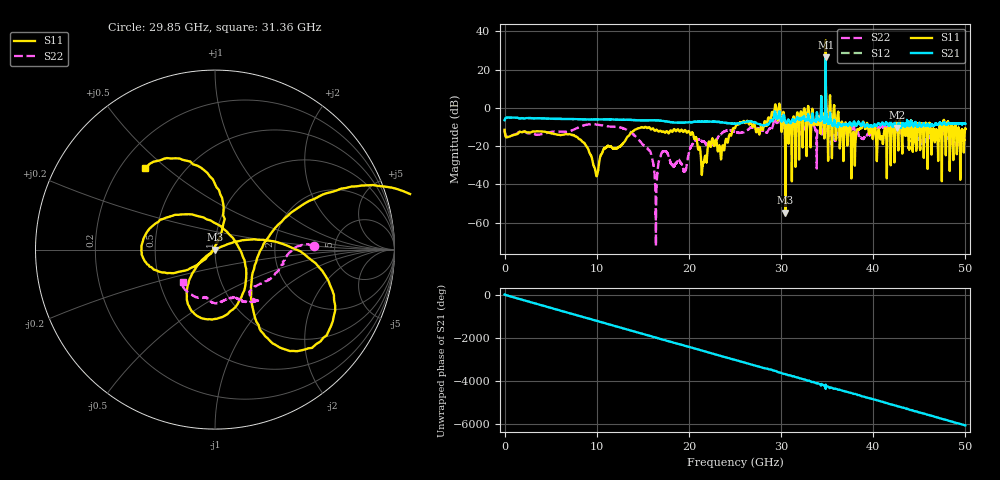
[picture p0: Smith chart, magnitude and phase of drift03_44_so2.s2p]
!Created with skrf (http://scikit-rf.org).
# Hz S RI R 50.0
!freq ReS11 ImS11 ReS21 ImS21 ReS12 ImS12 ReS22 ImS22
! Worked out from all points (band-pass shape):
!   10001 points, 300 kHz to 50 GHz, reference 50 ohm
!   highest |S21| = 26.46 dB at 34.85 GHz (marker M1); lowest = -10.4 dB at 42.56 GHz (marker M2)
!   |S21| within 3 dB of the highest: 34.84356 GHz to 34.84606 GHz (2.5 MHz wide, 0.00717 % of centre)
!   lowest |S11| = -54.9 dB at 30.47 GHz (marker M3), VSWR 1.00, Z = 49.8 - j0.0645 ohm
!   |S11| at or under -10 dB: start of sweep to 15.23 GHz; 15.31 GHz to 25.05 GHz (9.737 GHz wide, 48.2 % of centre); 40.22 GHz to 41.62 GHz (1.402 GHz wide, 3.42 % of centre) (the widest 3 of 54)
!   |S22| runs from -72.4 to 17.6 dB; largest |S21 - S12| = 3.1
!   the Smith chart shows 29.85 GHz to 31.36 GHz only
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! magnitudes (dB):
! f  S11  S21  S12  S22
! 300 kHz  -11.5  -6.5  -6.5  -11.4
! 8.335 GHz  -17.1  -6.0  -6.0  -9.6
! 9.955 GHz  -35.5  -6.1  -6.1  -8.7
! 11 GHz  -20.9  -6.1  -6.1  -9.5
! 13.97 GHz  -12.2  -6.3  -6.3  -13.9
! 15.75 GHz  -10.4  -6.5  -6.5  -22.4
! 16.36 GHz  -11.9  -6.5  -6.5  -42.2
! 16.67 GHz  -12.4  -6.6  -6.5  -29.7
! 17.33 GHz  -12.7  -6.9  -6.9  -22.9
! 19.55 GHz  -11.7  -7.6  -7.7  -33.1
! 20.22 GHz  -13.9  -7.5  -7.5  -20.3
! 21.55 GHz  -28.9  -7.2  -7.2  -17.7
! 25 GHz  -10.6  -8.3  -8.2  -12.6
! 29.6 GHz  -5.5  -5.7  -5.9  -7.8
! 30.47 GHz  -54.9  -7.2  -7.2  -9.1
! 33.34 GHz  -3.9  -6.8  -6.7  -9.3
! 34.85 GHz  35.3  26.5  26.2  17.6
! 37.83 GHz  -12.7  -8.3  -8.4  -9.9
! 38.81 GHz  -8.9  -8.2  -8.2  -16.1
! 41.67 GHz  -9.2  -9.4  -9.4  -11.5
! 42.56 GHz  -8.4  -10.4  -10.4  -13.2
! 50 GHz  -11.0  -8.2  -8.3  -15.5
